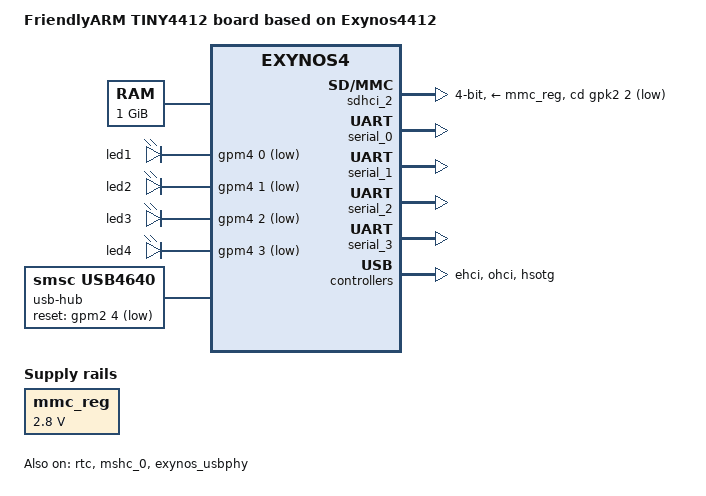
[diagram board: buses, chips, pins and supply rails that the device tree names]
/*
 * FriendlyARM's Exynos4412 based TINY4412 board device tree source
 *
 * Copyright (c) 2013 Alex Ling <kasimling@gmail.com>
 *
 * Device tree source file for FriendlyARM's TINY4412 board which is based on
 * Samsung's Exynos4412 SoC.
 *
 * This program is free software; you can redistribute it and/or modify
 * it under the terms of the GNU General Public License version 2 as
 * published by the Free Software Foundation.
*/

/dts-v1/;
#include "exynos4412.dtsi"
#include <dt-bindings/gpio/gpio.h>
#include <dt-bindings/usb4640/usb4640.h>
/ {
	model = "FriendlyARM TINY4412 board based on Exynos4412";
	compatible = "friendlyarm,tiny4412", "samsung,exynos4412", "samsung,exynos4";

	chosen {
		stdout-path = &serial_0;
		bootargs = "root=/dev/ram0 rw rootfstype=ext4 console=ttySAC0,115200 ethmac=1C:6F:65:34:51:7E init=/linuxrc earlyprintk";
	};

	memory {
		reg = <0x40000000 0x40000000>;
	};

	leds {
		compatible = "gpio-leds";

		led1 {
			label = "led1";
			gpios = <&gpm4 0 GPIO_ACTIVE_LOW>;
			default-state = "off";
			linux,default-trigger = "heartbeat";
		};

		led2 {
			label = "led2";
			gpios = <&gpm4 1 GPIO_ACTIVE_LOW>;
			default-state = "off";
		};

		led3 {
			label = "led3";
			gpios = <&gpm4 2 GPIO_ACTIVE_LOW>;
			default-state = "off";
		};

		led4 {
			label = "led4";
			gpios = <&gpm4 3 GPIO_ACTIVE_LOW>;
			default-state = "off";
			linux,default-trigger = "mmc0";
		};
	};

	fixed-rate-clocks {
		xxti {
			compatible = "samsung,clock-xxti";
			clock-frequency = <0>;
		};

		xusbxti {
			compatible = "samsung,clock-xusbxti";
			clock-frequency = <24000000>;
		};
	};
	backlight@139D0000{
		compatible = "tiny4412,backlight";
		reg = <0x139D0000  0x14>;
		tiny4412,backlight = <&gpx1 2 GPIO_ACTIVE_HIGH>;
		pinctrl-names = "backlight_out","backlight_in";
		pinctrl-0 = <&backlight_out>;
		pinctrl-1 = <&backlight_in>;
		interrupts = <0 40 0>;
		clocks = <&clock CLK_PWM>;
		clock-names = "timers";
	};
	lcd_s702@11C00000 {
		compatible = "tiny4412, lcd_s702";
		reg = <0x11C00000  0x20c0 0x10010210 0x08 0x10023c80 0x04 0x1003c000 0x1000>;
		pinctrl-names = "default";
		pinctrl-0 = <&lcd_s702>;
		clocks = <&clock CLK_FIMD0 &clock CLK_ACLK160>;
		clock-names = "fimd0","aclk160";
	};

	usb-hub {
		compatible = "smsc,usb4640";
		reset-gpios = <&gpm2 4 GPIO_ACTIVE_LOW>;
		initial-mode = <USB4640_MODE_HUB>;
	};
	
	regulators {
		compatible = "simple-bus";
	#address-cells = <1>;
	#size-cells = <0>;

mmc_reg: regulator@0{
		 compatible = "regulator-fixed";
		 reg = <0>;
		 regulator-name = "VMEM_VDD_2.8V";
		 regulator-min-microvolt = <2800000>;
		 regulator-max-microvolt = <2800000>;
	 };  
	};  
};


&rtc {
	status = "okay";
};

&sdhci_2 {
	bus-width = <4>;
	pinctrl-0 = <&sd2_clk &sd2_cmd &sd2_cd &sd2_bus4>;
	pinctrl-names = "default";
	vmmc-supply = <&mmc_reg>;
	cd-gpios = <&gpk2 2 GPIO_ACTIVE_HIGH>;
	cd-inverted;
	status = "okay";
};
&mshc_0 {
	num-slots = <1>;
	broken-cd;
	non-removable;
	card-detect-delay = <200>;
	vmmc-supply = <&mmc_reg>;
	clock-frequency = <400000000>;
	samsung,dw-mshc-ciu-div = <0>;
	samsung,dw-mshc-sdr-timing = <2 3>;
	samsung,dw-mshc-ddr-timing = <1 2>;
	pinctrl-0 = <&sd4_clk &sd4_cmd &sd4_bus4 &sd4_bus8>;
	pinctrl-names = "default";
	status = "okay";
	bus-width = <8>;
	cap-mmc-highspeed;
};
&pinctrl_0 {
lcd_s702:lcd {
		 samsung,pins = "gpf0-0", "gpf0-1", "gpf0-2", "gpf0-3", "gpf0-4",
			 "gpf0-5", "gpf0-6","gpf0-7", "gpf1-0", "gpf1-1",
			 "gpf1-2", "gpf1-3", "gpf1-4", "gpf1-5", "gpf1-6",
			 "gpf1-7", "gpf2-0", "gpf2-1", "gpf2-2", "gpf2-3", 
			 "gpf2-4", "gpf2-5", "gpf2-6","gpf2-7", "gpf3-0",
			 "gpf3-1", "gpf3-2", "gpf3-3";
		 samsung,pin-function = <2>;
		 samsung,pin-pud = <0>;
		 samsung,pin-drv = <0>;
	 };
};
&pinctrl_1 {
backlight_out: backlight_out{
		       samsung,pins = "gpx1-2";
		       samsung,pin-function = <1>;
		       samsung,pin-pud = <0>;
		       samsung,pin-drv = <0>;
	       };
backlight_in: backlight_in{
		      samsung,pins = "gpx1-2";
		      samsung,pin-function = <0>;
		      samsung,pin-pud = <0>;
		      samsung,pin-drv = <0>;
	      };
};
&serial_0 {
	status = "okay";
};

&serial_1 {
	status = "okay";
};

&serial_2 {
	status = "okay";
};

&serial_3 {
	status = "okay";
};
&exynos_usbphy {
	    status = "okay";
	};

&ehci {
	status = "okay";
	port@0 {
		status = "okay";
	};
	port@1 {
		status = "okay";
	};
	port@2 {
		status = "okay";
	};
};
&ohci {
	status = "okay";
	port@0 {
		status = "okay";
	};
};

&hsotg {
	status = "okay";
};
